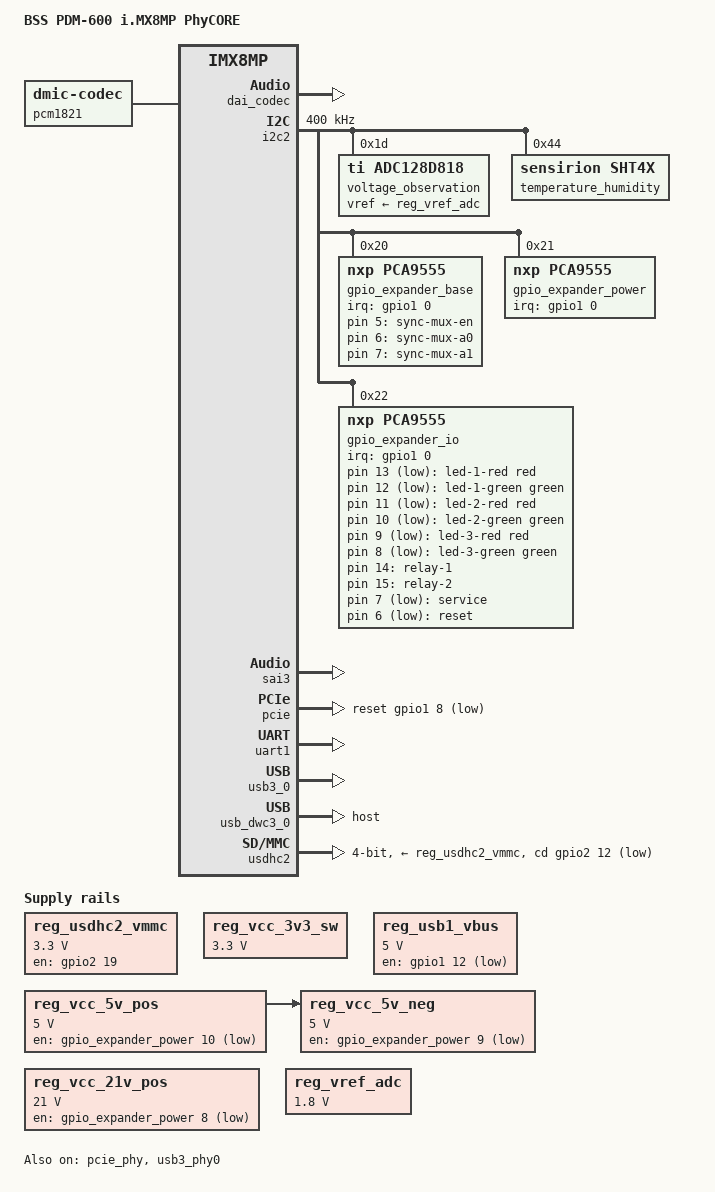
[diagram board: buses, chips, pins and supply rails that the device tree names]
// SPDX-License-Identifier: GPL-2.0
/*
 * Copyright (C) 2026 BSS Hochspannungstechnik GmbH
 * Author: Malte Gerber <malte.gerber@bss-hs.de>
 */

/dts-v1/;

#include <dt-bindings/phy/phy-imx8-pcie.h>
#include <dt-bindings/gpio/gpio.h>
#include <dt-bindings/leds/common.h>
#include "imx8mp-phycore-som.dtsi"

/ {
	model = "BSS PDM-600 i.MX8MP PhyCORE";
	compatible = "bss,imx8mp-phycore-pdm600", "phytec,imx8mp-phycore-som", "fsl,imx8mp";

	/* 
	 * hardware revisions for software compatibility checks
	 * these values should be set by u-boot depending on the detected hardware revision of the respective board (base, io card, power card)
	*/
    base_hardware_revision = <0x2>;
    io_card_hardware_revision = <0x2>;
    power_card_hardware_revision = <0x2>;

	chosen {
		stdout-path = &uart1;
	};

	firmware {
		optee {
			compatible = "linaro,optee-tz";
			method = "smc";
		};
	};

    // LEDs
	gpio-leds {
		compatible = "gpio-leds";

        led-1-red {
            gpios = <&gpio_expander_io 13 GPIO_ACTIVE_LOW>;
			function = LED_FUNCTION_STATUS;
            color = <LED_COLOR_ID_RED>;
            default-state = "on";
			function-enumerator = <1>;
        };

        led-1-green {
            gpios = <&gpio_expander_io 12 GPIO_ACTIVE_LOW>;
			function = LED_FUNCTION_STATUS;
            color = <LED_COLOR_ID_GREEN>;
            default-state = "on";
			function-enumerator = <1>;
        };

        led-2-red {
            gpios = <&gpio_expander_io 11 GPIO_ACTIVE_LOW>;
			function = LED_FUNCTION_STATUS;
            color = <LED_COLOR_ID_RED>;
            default-state = "on";
			function-enumerator = <2>;
        };

        led-2-green {
            gpios = <&gpio_expander_io 10 GPIO_ACTIVE_LOW>;
			function = LED_FUNCTION_STATUS;
            color = <LED_COLOR_ID_GREEN>;
            default-state = "on";
			function-enumerator = <2>;
        };

        led-3-red {
            gpios = <&gpio_expander_io 9 GPIO_ACTIVE_LOW>;
			function = LED_FUNCTION_STATUS;
            color = <LED_COLOR_ID_RED>;
            default-state = "on";
			function-enumerator = <3>;
        };

        led-3-green {
            gpios = <&gpio_expander_io 8 GPIO_ACTIVE_LOW>;
			function = LED_FUNCTION_STATUS;
            color = <LED_COLOR_ID_GREEN>;
            default-state = "on";
			function-enumerator = <3>;
        };

        relay-1 {
            label = "relay-1";
            gpios = <&gpio_expander_io 14 GPIO_ACTIVE_HIGH>;
            default-state = "off";
        };

        relay-2 {
            label = "relay-2";
            gpios = <&gpio_expander_io 15 GPIO_ACTIVE_HIGH>;
            default-state = "off";
        };

        sync-mux-en {
            label = "sync-mux-en";
            gpios = <&gpio_expander_base 5 GPIO_ACTIVE_HIGH>;
            default-state = "on";
        };

        sync-mux-a0 {
            label = "sync-mux-a0";
            gpios = <&gpio_expander_base 6 GPIO_ACTIVE_HIGH>;
            default-state = "off";
        };

        sync-mux-a1 {
            label = "sync-mux-a1";
            gpios = <&gpio_expander_base 7 GPIO_ACTIVE_HIGH>;
            default-state = "off";
        };
	};

    // Buttons
	gpio-keys {
		compatible = "gpio-keys";
		autorepeat;

		service {
			label = "service";
			linux,code = <KEY_SETUP>;
            gpios = <&gpio_expander_io 7 GPIO_ACTIVE_LOW>;
		};

		reset {
			label = "reset";
			linux,code = <KEY_RESTART>;
            gpios = <&gpio_expander_io 6 GPIO_ACTIVE_LOW>;
		};
	};

    pcm1821: audio-codec {
        compatible = "dmic-codec";
        num-channels = <2>;
        #sound-dai-cells = <0>;
        status = "okay";
    };

    sound {
        compatible = "simple-audio-card";
        simple-audio-card,name = "PCM1821 Sync Voltage";
        simple-audio-card,format = "i2s";

        simple-audio-card,bitclock-master = <&dai_cpu>;
        simple-audio-card,frame-master = <&dai_cpu>;

        simple-audio-card,widgets = "Microphone", "PCM1821 Input";
        simple-audio-card,routing = "DMic", "PCM1821 Input";

        dai_cpu: simple-audio-card,cpu {
            sound-dai = <&sai3>;
            status = "okay";
        };

        dai_codec: simple-audio-card,codec {
            sound-dai = <&pcm1821>;
            status = "okay";
        };
    };


	reg_usdhc2_vmmc: regulator-usdhc2 {
		compatible = "regulator-fixed";
		pinctrl-names = "default";
		pinctrl-0 = <&pinctrl_reg_usdhc2_vmmc>;
		regulator-name = "VSD_3V3";
		regulator-min-microvolt = <3300000>;
		regulator-max-microvolt = <3300000>;
		gpio = <&gpio2 19 GPIO_ACTIVE_HIGH>;
		enable-active-high;
		startup-delay-us = <100>;
		off-on-delay-us = <12000>;
	};

	reg_vcc_3v3_sw: regulator-vcc-3v3-sw {
		compatible = "regulator-fixed";
		regulator-name = "VCC_3V3_SW";
		regulator-min-microvolt = <3300000>;
		regulator-max-microvolt = <3300000>;
	};

    reg_usb1_vbus: regulator-usb1-vbus {
        compatible = "regulator-fixed";
        pinctrl-names = "default";
        pinctrl-0 = <&pinctrl_usb1_vbus>;
        gpio = <&gpio1 12 GPIO_ACTIVE_LOW>;
        regulator-max-microvolt = <5000000>;
        regulator-min-microvolt = <5000000>;
        regulator-name = "usb1_host_vbus";
    };

	reg_vcc_5v_pos: regulator-vcc-5v-pos {
        compatible = "regulator-fixed";
        regulator-name = "VCC_5V_POS";
        regulator-min-microvolt = <5000000>; /* 5V */
        regulator-max-microvolt = <5000000>;
        gpio = <&gpio_expander_power 10 GPIO_ACTIVE_LOW>;
		regulator-boot-on;
		startup-delay-us = <20000>;
    };

    reg_vcc_5v_neg: regulator-vcc-5v-neg {
        compatible = "regulator-fixed";
        regulator-name = "VCC_5V_NEG";
        /* The Linux regulator framework expects positive values */
        regulator-min-microvolt = <5000000>; /* |-5V| = 5V */
        regulator-max-microvolt = <5000000>;
        gpio = <&gpio_expander_power 9 GPIO_ACTIVE_LOW>;
		regulator-boot-on;
		startup-delay-us = <100>;

		// only to avoid that the -5 V is enabled before the +5 V is enabled, which would causes problems
		vin-supply = <&reg_vcc_5v_pos>; 
    };

    reg_vcc_21v_pos: regulator-vcc-21v-pos {
        compatible = "regulator-fixed";
        regulator-name = "VCC_21V_POS";
        regulator-min-microvolt = <21000000>; /* 21V = 21.000.000 uV */
        regulator-max-microvolt = <21000000>;
        gpio = <&gpio_expander_power 8 GPIO_ACTIVE_LOW>;
		regulator-boot-on;
		startup-delay-us = <100>;
    };

    reg_vref_adc: regulator-vref-adc {
        compatible = "regulator-fixed";
        regulator-name = "VREF_ADC";
        regulator-min-microvolt = <1800000>; /* 1.8V = 1.800.000 uV */
        regulator-max-microvolt = <1800000>;
		regulator-always-on;
    };
};

&i2c2 {
	clock-frequency = <400000>;
	pinctrl-names = "default";
	pinctrl-0 = <&pinctrl_i2c2>;
	status = "okay";

	voltage_observation: adc128d818@1d {
		compatible = "ti,adc128d818";
		reg = <0x1d>;
		ti,mode = <2>;
		vref-supply = <&reg_vref_adc>;
		status = "okay";
	};

    temperature_humidity: sht4x@44 {
		compatible = "sensirion,sht4x";
		reg = <0x44>;
		status = "okay";
	};

    gpio_expander_base: pca9555@20 {
		compatible = "nxp,pca9555";

		pinctrl-names = "default";
        pinctrl-0 = <&pinctrl_pca9555_int>;

		reg = <0x20>;

		gpio-controller;
		#gpio-cells = <2>;
		interrupt-parent = <&gpio1>;
		interrupts = <0 IRQ_TYPE_EDGE_FALLING>;
		interrupt-controller;
		#interrupt-cells = <2>;
		gpio-line-names = "BASE_REVISION_0", "BASE_REVISION_1", "BASE_REVISION_2", "BASE_REVISION_3",
				  "BASE_REVISION_4", "SYNC_MUX_EN", "SYNC_MUX_A0", "SYNC_MUX_A1",
				  "SERVICE_LONG", "EXP_IO_GPIO9", "EXP_IO_GPIO10", "EXP_IO_GPIO11",
				  "EXP_IO_GPIO12", "EXP_IO_GPIO13", "EXP_IO_GPIO14", "EXP_IO_GPIO15";
		status = "okay";
	};

    gpio_expander_power: pca9555@21 {
		compatible = "nxp,pca9555";

		reg = <0x21>;

		gpio-controller;
		#gpio-cells = <2>;
		interrupt-parent = <&gpio1>;
		interrupts = <0 IRQ_TYPE_EDGE_FALLING>;
		interrupt-controller;
		#interrupt-cells = <2>;
		gpio-line-names = "POWER_CARD_REVISION_0", "POWER_CARD_REVISION_1", "POWER_CARD_REVISION_2", "POWER_CARD_REVISION_3",
				  "POWER_CARD_REVISION_4", "EXP_IO_GPIO5", "EXP_IO_GPIO6", "EXP_IO_GPIO7",
				  "EN_+20V", "EN_-5V", "EN_+5V", "EXP_IO_GPIO11",
				  "EXP_IO_GPIO12", "EXP_IO_GPIO13", "EXP_IO_GPIO14", "EXP_IO_GPIO15";
		status = "okay";
	};

    gpio_expander_io: pca9555@22 {
		compatible = "nxp,pca9555";

		reg = <0x22>;

		gpio-controller;
		#gpio-cells = <2>;
		interrupt-parent = <&gpio1>;
		interrupts = <0 IRQ_TYPE_EDGE_FALLING>;
		interrupt-controller;
		#interrupt-cells = <2>;
		gpio-line-names = "IO_CARD_REVISION_0", "IO_CARD_REVISION_1", "IO_CARD_REVISION_2", "IO_CARD_REVISION_3",
				  "IO_CARD_REVISION_4", "EXP_IO_GPIO5", "SW2_RST", "SW1_ISP",
				  "LED3_G", "LED3_R", "LED2_G", "LED2_R",
				  "LED1_G", "LED1_R", "RELAY_2", "RELAY_1";
		status = "okay";
	};

    gpio_expander_mp: pca9555@23 {
		compatible = "nxp,pca9555";

		reg = <0x23>;

		gpio-controller;
		#gpio-cells = <2>;
		interrupt-parent = <&gpio1>;
		interrupts = <0 IRQ_TYPE_EDGE_FALLING>;
		interrupt-controller;
		#interrupt-cells = <2>;
		gpio-line-names = "MP_CARD_REVISION_0", "MP_CARD_REVISION_1", "MP_CARD_REVISION_2", "MP_CARD_REVISION_3",
				  "MP_CARD_REVISION_4", "EXP_IO_GPIO5", "EXP_IO_GPIO6", "EXP_IO_GPIO7",
				  "EXP_IO_GPIO8", "EXP_IO_GPIO9", "EXP_IO_GPIO10", "EXP_IO_GPIO11",
				  "EXP_IO_GPIO12", "EXP_IO_GPIO13", "EXP_IO_GPIO14", "EXP_IO_GPIO15";
		status = "disabled";
	};
};

&sai3 {
    pinctrl-names = "default";
    pinctrl-0 = <&pinctrl_sai3>;
    assigned-clocks = <&clk IMX8MP_CLK_SAI3>;
    assigned-clock-parents = <&clk IMX8MP_AUDIO_PLL1_OUT>;
    assigned-clock-rates = <12288000>;
    fsl,sai-mclk-direction-output;
    fsl,sai-asynchronous;
    status = "okay";
};

&pcie_phy {
	clocks = <&hsio_blk_ctrl>;
	clock-names = "ref";
	fsl,refclk-pad-mode = <IMX8_PCIE_REFCLK_PAD_OUTPUT>;
	fsl,clkreq-unsupported;
	status = "okay";
};

/* Mini PCIe */
&pcie {
	pinctrl-names = "default";
	pinctrl-0 = <&pinctrl_pcie0>;
	reset-gpios = <&gpio1 8 GPIO_ACTIVE_LOW>;
	vpcie-supply = <&reg_vcc_3v3_sw>;
	status = "okay";
};

&fec {
	// set max speed to 100Mbit/s to avoid negotiation problems with the PHY
	max-speed = <100>;
};

&ethphy1 {
	// set max speed to 100Mbit/s to avoid negotiation problems with the PHY
	max-speed = <100>;
};


&ecspi2 {
    pinctrl-names = "default";
    pinctrl-0 = <&pinctrl_ecspi2>;
    status = "disabled";
};


/* debug console */
&uart1 {
	pinctrl-names = "default";
	pinctrl-0 = <&pinctrl_uart1>;
	status = "okay";
};

/* USB Host mode */
&usb3_phy0 {
    vbus-supply = <&reg_usb1_vbus>;
    status = "okay";
};

&usb3_0 {
    status = "okay";
};

&usb_dwc3_0 {
    dr_mode = "host";
	/* Unknown if SuperSpeed pairs are routed on this instance either. */
	maximum-speed = "high-speed";
    status = "okay";
};

/* SD-Card */
&usdhc2 {
	assigned-clocks = <&clk IMX8MP_CLK_USDHC2>;
	assigned-clock-rates = <200000000>;
	pinctrl-names = "default", "state_100mhz", "state_200mhz";
	pinctrl-0 = <&pinctrl_usdhc2>, <&pinctrl_usdhc2_pins>;
	pinctrl-1 = <&pinctrl_usdhc2_100mhz>, <&pinctrl_usdhc2_pins>;
	pinctrl-2 = <&pinctrl_usdhc2_200mhz>, <&pinctrl_usdhc2_pins>;
	cd-gpios = <&gpio2 12 GPIO_ACTIVE_LOW>;
	disable-wp;
	vmmc-supply = <&reg_usdhc2_vmmc>;
	vqmmc-supply = <&ldo5>;
	bus-width = <4>;
	status = "okay";
};

&gpio5 {
    gpio-line-names = "", "", "", "", "", "", "", "", "", "",
                    "", "", "", "", "", "",
                    "", "CARD-MUX-A0", "CARD-MUX-A1";
};

&uart3 {
    status = "disabled";
};

&ecspi1 {
    status = "disabled";
};


&iomuxc {

    pinctrl_ecspi2: ecspi2grp {
        fsl,pins = <
            MX8MP_IOMUXC_ECSPI2_MISO__ECSPI2_MISO   0x80 /* !!!! */
            MX8MP_IOMUXC_ECSPI2_MOSI__ECSPI2_MOSI   0x80
            MX8MP_IOMUXC_ECSPI2_SCLK__ECSPI2_SCLK   0x80
            MX8MP_IOMUXC_ECSPI2_SS0__ECSPI2_SS0     0x106
        >;
    };


    pinctrl_sai3: sai3grp {
        fsl,pins = <
            MX8MP_IOMUXC_SAI3_RXC__AUDIOMIX_SAI3_RX_BCLK    0xd6
            MX8MP_IOMUXC_SAI3_RXD__AUDIOMIX_SAI3_RX_DATA00  0xd6
            MX8MP_IOMUXC_SAI3_RXFS__AUDIOMIX_SAI3_RX_SYNC   0xd6 
        >;
    };

	pinctrl_i2c2: i2c2grp {
		fsl,pins = <
			MX8MP_IOMUXC_I2C2_SCL__I2C2_SCL		0x400001c2
			MX8MP_IOMUXC_I2C2_SDA__I2C2_SDA		0x400001c2
		>;
	};

	pinctrl_pca9555_int: pca9555intgrp {
        fsl,pins = <
            MX8MP_IOMUXC_GPIO1_IO00__GPIO1_IO00    0x1c0
        >;
    };

	pinctrl_pcie0: pcie0grp {
		fsl,pins = <
			MX8MP_IOMUXC_GPIO1_IO08__GPIO1_IO08     0x40
			MX8MP_IOMUXC_GPIO1_IO10__GPIO1_IO10     0x60
			MX8MP_IOMUXC_GPIO1_IO11__GPIO1_IO11	    0x60 /* open drain, pull up */
			MX8MP_IOMUXC_GPIO1_IO14__GPIO1_IO14     0x40
		>;
	};

	pinctrl_reg_usdhc2_vmmc: regusdhc2vmmcgrp {
		fsl,pins = <
			MX8MP_IOMUXC_SD2_RESET_B__GPIO2_IO19	0x40
		>;
	};

	pinctrl_rtc: rtcgrp {
		fsl,pins = <
			MX8MP_IOMUXC_SAI1_TXD7__GPIO4_IO19	0x1C0
		>;
	};

	pinctrl_uart1: uart1grp {
		fsl,pins = <
			MX8MP_IOMUXC_UART1_RXD__UART1_DCE_RX	0x140
			MX8MP_IOMUXC_UART1_TXD__UART1_DCE_TX	0x140
		>;
	};

    pinctrl_usb1_vbus: usb1vbusgrp {
        fsl,pins = <
            MX8MP_IOMUXC_GPIO1_IO12__GPIO1_IO12     0x40
        >;
    };

	pinctrl_usdhc2_pins: usdhc2-gpiogrp {
		fsl,pins = <
			MX8MP_IOMUXC_SD2_CD_B__GPIO2_IO12	0x1C0
		>;
	};

	pinctrl_usdhc2: usdhc2grp {
		fsl,pins = <
			MX8MP_IOMUXC_SD2_CLK__USDHC2_CLK	    0x190
			MX8MP_IOMUXC_SD2_CMD__USDHC2_CMD	    0x1d0
			MX8MP_IOMUXC_SD2_DATA0__USDHC2_DATA0	0x1d0
			MX8MP_IOMUXC_SD2_DATA1__USDHC2_DATA1	0x1d0
			MX8MP_IOMUXC_SD2_DATA2__USDHC2_DATA2	0x1d0
			MX8MP_IOMUXC_SD2_DATA3__USDHC2_DATA3	0x1d0
			MX8MP_IOMUXC_GPIO1_IO04__USDHC2_VSELECT	0xc0
		>;
	};

	pinctrl_usdhc2_100mhz: usdhc2-100mhzgrp {
		fsl,pins = <
			MX8MP_IOMUXC_SD2_CLK__USDHC2_CLK	    0x194
			MX8MP_IOMUXC_SD2_CMD__USDHC2_CMD	    0x1d4
			MX8MP_IOMUXC_SD2_DATA0__USDHC2_DATA0	0x1d4
			MX8MP_IOMUXC_SD2_DATA1__USDHC2_DATA1	0x1d4
			MX8MP_IOMUXC_SD2_DATA2__USDHC2_DATA2	0x1d4
			MX8MP_IOMUXC_SD2_DATA3__USDHC2_DATA3	0x1d4
			MX8MP_IOMUXC_GPIO1_IO04__USDHC2_VSELECT	0xc0
		>;
	};

	pinctrl_usdhc2_200mhz: usdhc2-200mhzgrp {
		fsl,pins = <
			MX8MP_IOMUXC_SD2_CLK__USDHC2_CLK	    0x196
			MX8MP_IOMUXC_SD2_CMD__USDHC2_CMD	    0x1d6
			MX8MP_IOMUXC_SD2_DATA0__USDHC2_DATA0	0x1d6
			MX8MP_IOMUXC_SD2_DATA1__USDHC2_DATA1	0x1d6
			MX8MP_IOMUXC_SD2_DATA2__USDHC2_DATA2	0x1d6
			MX8MP_IOMUXC_SD2_DATA3__USDHC2_DATA3	0x1d6
			MX8MP_IOMUXC_GPIO1_IO04__USDHC2_VSELECT	0xc0
		>;
	};
};
